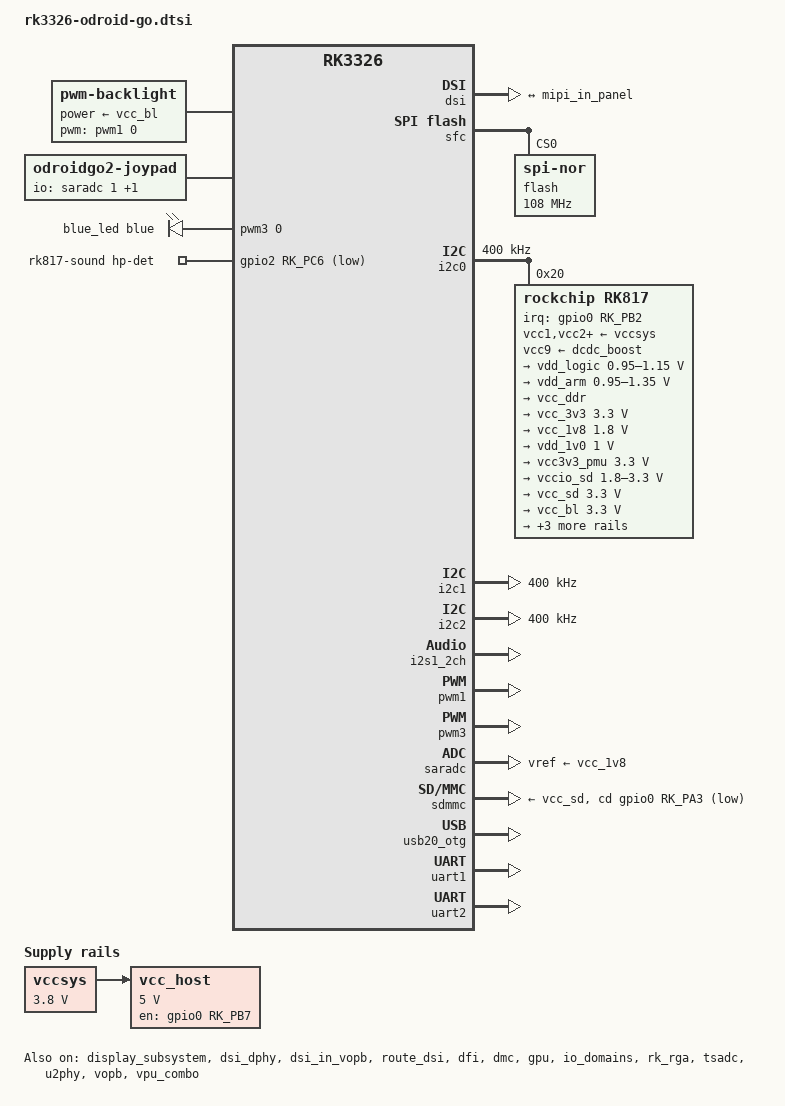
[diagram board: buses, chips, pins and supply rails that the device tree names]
// SPDX-License-Identifier: (GPL-2.0+ OR MIT)
/*
 * Copyright (c) 2019 Hardkernel Co., Ltd
 * Copyright (c) 2020 Theobroma Systems Design und Consulting GmbH
 * Copyright (c) 2022 Maya Matuszczyk <maccraft123mc@gmail.com>
 */

/dts-v1/;
#include <dt-bindings/display/drm_mipi_dsi.h>
#include <dt-bindings/gpio/gpio.h>
#include <dt-bindings/input/input.h>
#include <dt-bindings/leds/common.h>
#include <dt-bindings/pinctrl/rockchip.h>
#include <dt-bindings/sensor-dev.h>
#include "rk3326.dtsi"
#include "rk3326-linux.dtsi"

/ {
	aliases {
		mmc0 = &sdmmc;
	};

	chosen {
		bootargs = "";
		stdout-path = "serial2:115200n8";
	};

	backlight: backlight {
		compatible = "pwm-backlight";
		power-supply = <&vcc_bl>;
		pwms = <&pwm1 0 25000 0>;
		brightness-levels = <
			  0   1   2   3   4   5   6   7
			  8   9  10  11  12  13  14  15
			 16  17  18  19  20  21  22  23
			 24  25  26  27  28  29  30  31
			 32  33  34  35  36  37  38  39
			 40  41  42  43  44  45  46  47
			 48  49  50  51  52  53  54  55
			 56  57  58  59  60  61  62  63
			 64  65  66  67  68  69  70  71
			 72  73  74  75  76  77  78  79
			 80  81  82  83  84  85  86  87
			 88  89  90  91  92  93  94  95
			 96  97  98  99 100 101 102 103
			104 105 106 107 108 109 110 111
			112 113 114 115 116 117 118 119
			120 121 122 123 124 125 126 127
			128 129 130 131 132 133 134 135
			136 137 138 139 140 141 142 143
			144 145 146 147 148 149 150 151
			152 153 154 155 156 157 158 159
			160 161 162 163 164 165 166 167
			168 169 170 171 172 173 174 175
			176 177 178 179 180 181 182 183
			184 185 186 187 188 189 190 191
			192 193 194 195 196 197 198 199
			200 201 202 203 204 205 206 207
			208 209 210 211 212 213 214 215
			216 217 218 219 220 221 222 223
			224 225 226 227 228 229 230 231
			232 233 234 235 236 237 238 239
			240 241 242 243 244 245 246 247
			248 249 250 251 252 253 254 255>;
		default-brightness-level = <200>;
	};

	fiq-debugger {
		compatible = "rockchip,fiq-debugger";
		rockchip,serial-id = <2>;
		rockchip,wake-irq = <0>;
		/* If enable uart uses irq instead of fiq */
		rockchip,irq-mode-enable = <0>;
		rockchip,baudrate = <115200>;  /* Only 115200 and 1500000 */
		interrupts = <GIC_SPI 127 IRQ_TYPE_LEVEL_LOW>;
		pinctrl-names = "default";
		pinctrl-0 = <&uart2m1_xfer>;
		status = "okay";
	};

	joypad: odroidgo2-joypad {
                compatible = "odroidgo2-joypad";
                /*
                  - odroidgo2-joypad sysfs list -
		   * for poll device interval(ms)
		   /sys/devices/platform/odroidgo2_joypad/poll_interval [rw]
                   * for button-adc-fuzz
		   /sys/devices/platform/odroidgo2_joypad/adc_fuzz [r]
                   * for button-adc-flat
		   /sys/devices/platform/odroidgo2_joypad/adc_flat [r]

		   * for report control(1:enable, 0:disable)
		   /sys/devices/platform/odroidgo2_joypad/enable [rw]
		   * for adc calibration value setup(1:current adcs value -> cal value)
		   /sys/devices/platform/odroidgo2_joypad/adc_cal [rw]
                */

		/* gpio pincontrol setup */
                pinctrl-names = "default";
                pinctrl-0 = <&btn_pins>;

		/* JOY_X, JOY_Y Channel define */
		io-channel-names = "joy_x", "joy_y";
		io-channels = <&saradc 1>, <&saradc 2>;

		/*
		    joy-stick voltage range
		    /sys/devices/platform/ff288000.saradc/iio:device0
		    adc-x : in_voltage1_raw
		    adc-y : in_voltage2_raw

		    range calculate.
		    (adc raw max value - adc raw min value) * 1.7515
		*/
		button-adc-x-range = <1100>;
		button-adc-y-range = <1000>;

		/* adc channel count */
		button-adc-count = <2>;

		/*
		  specifies fuzz value that is used to filter noise from
		  the event stream.
		*/
		button-adc-fuzz = <10>;
		button-adc-flat = <10>;

		/* poll device interval (ms), adc read interval */
		poll-interval = <1>;

		/* gpio button auto repeat set value : default disable */
		/*
			autorepeat;
		*/

                /*
                    joypad driver is poll-device driver.
                    poll-device is does not support wakeup-source.
		*/

		button-sw1 {
			gpios = <&gpio1 RK_PB4 GPIO_ACTIVE_LOW>;
			label = "DPAD-UP";
			linux,code = <BTN_DPAD_UP>;
		};
		button-sw2 {
			gpios = <&gpio1 RK_PB5 GPIO_ACTIVE_LOW>;
			label = "DPAD-DOWN";
			linux,code = <BTN_DPAD_DOWN>;
		};
		button-sw3 {
			gpios = <&gpio1 RK_PB6 GPIO_ACTIVE_LOW>;
			label = "DPAD-LEFT";
			linux,code = <BTN_DPAD_LEFT>;
		};
		button-sw4 {
			gpios = <&gpio1 RK_PB7 GPIO_ACTIVE_LOW>;
			label = "DPAD-RIGHT";
			linux,code = <BTN_DPAD_RIGHT>;
		};
		button-sw5 {
			gpios = <&gpio1 RK_PA2 GPIO_ACTIVE_LOW>;
			label = "BTN-A";
			linux,code = <BTN_EAST>;
		};
		button-sw6 {
			gpios = <&gpio1 RK_PA5 GPIO_ACTIVE_LOW>;
			label = "BTN-B";
			linux,code = <BTN_SOUTH>;
		};
		button-sw7 {
			gpios = <&gpio1 RK_PA6 GPIO_ACTIVE_LOW>;
			label = "BTN-Y";
			linux,code = <BTN_WEST>;
		};
		button-sw8 {
			gpios = <&gpio1 RK_PA7 GPIO_ACTIVE_LOW>;
			label = "BTN-X";
			linux,code = <BTN_NORTH>;
		};
		btn_f1: button-sw9 {
			gpios = <&gpio2 RK_PA0 GPIO_ACTIVE_LOW>;
			label = "F1";
			linux,code = <BTN_TRIGGER_HAPPY1>;
		};
		btn_f2: button-sw10 {
			gpios = <&gpio2 RK_PA1 GPIO_ACTIVE_LOW>;
			label = "F2";
			linux,code = <BTN_TRIGGER_HAPPY2>;
		};
		btn_f3: button-sw11 {
			gpios = <&gpio2 RK_PA2 GPIO_ACTIVE_LOW>;
			label = "F3";
			linux,code = <BTN_TRIGGER_HAPPY3>;
		};
		btn_f4: button-sw12 {
			gpios = <&gpio2 RK_PA3 GPIO_ACTIVE_LOW>;
			label = "F4";
			linux,code = <BTN_TRIGGER_HAPPY4>;
		};
		btn_f5: button-sw13 {
			gpios = <&gpio2 RK_PA4 GPIO_ACTIVE_LOW>;
			label = "F5";
			linux,code = <BTN_TRIGGER_HAPPY5>;
		};
		btn_f6: button-sw14 {
			gpios = <&gpio2 RK_PA5 GPIO_ACTIVE_LOW>;
			label = "F6";
			linux,code = <BTN_TRIGGER_HAPPY6>;
		};
		button-sw15 {
			gpios = <&gpio2 RK_PA6 GPIO_ACTIVE_LOW>;
			label = "TOP-LEFT";
			linux,code = <BTN_TL>;
		};
		button-sw16 {
			gpios = <&gpio2 RK_PA7 GPIO_ACTIVE_LOW>;
			label = "TOP-RIGHT";
			linux,code = <BTN_TR>;
		};
	};

	/* led-1 is wired directly to output of always-on regulator */

	gpio_led: gpio-leds {
		compatible = "gpio-leds";
	};

	pwm_led: led-controller {
		compatible = "pwm-leds";

		blue_led: led-2 {
			color = <LED_COLOR_ID_BLUE>;
			function = LED_FUNCTION_STATUS;
			linux,default-trigger = "heartbeat";
			max-brightness = <255>;
			pwms = <&pwm3 0 25000 0>;
		};
	};

	rk817-sound {
		compatible = "simple-audio-card";
		simple-audio-card,name = "rk817_int";
		simple-audio-card,format = "i2s";
		simple-audio-card,hp-det-gpio = <&gpio2 RK_PC6 GPIO_ACTIVE_HIGH>;
		simple-audio-card,mclk-fs = <256>;
		simple-audio-card,widgets =
			"Microphone", "Mic Jack",
			"Headphone", "Headphones",
			"Speaker", "Speaker";
		simple-audio-card,routing =
			"MICL", "Mic Jack",
			"Headphones", "HPOL",
			"Headphones", "HPOR",
			"Speaker", "SPKO";

		simple-audio-card,codec {
			sound-dai = <&rk817>;
		};

		simple-audio-card,cpu {
			sound-dai = <&i2s1_2ch>;
		};
	};

	rk817-sound {
		compatible = "simple-audio-card";
		simple-audio-card,format = "i2s";
		simple-audio-card,name = "rockchip,rk817-codec";
		simple-audio-card,mclk-fs = <256>;
		simple-audio-card,widgets =
			"Microphone", "Mic Jack",
			"Headphone", "Headphone Jack";
		simple-audio-card,routing =
			"MIC_IN", "Mic Jack",
			/*"IN1P", "Mic Jack",*/
			"Headphone Jack", "HPOL",
			"Headphone Jack", "HPOR";
		simple-audio-card,hp-det-gpio = <&gpio2 RK_PC6 GPIO_ACTIVE_LOW>;
		simple-audio-card,codec-hp-det = <1>;
		simple-audio-card,cpu {
			sound-dai = <&i2s1_2ch>;
		};
		simple-audio-card,codec {
			sound-dai = <&rk817_codec>;
		};
	};

/*
	rk_headset {
		compatible = "rockchip_headset";
		headset_gpio = <&gpio2 RK_PC6 GPIO_ACTIVE_LOW>;
		pinctrl-names = "default";
		pinctrl-0 = <&hp_det>;
	};
*/

	vccsys: vccsys {
		compatible = "regulator-fixed";
		regulator-name = "vcc3v8_sys";
		regulator-always-on;
		regulator-min-microvolt = <3800000>;
		regulator-max-microvolt = <3800000>;
	};

	vcc_host: vcc_host {
		compatible = "regulator-fixed";
		regulator-name = "vcc_host";
		regulator-min-microvolt = <5000000>;
		regulator-max-microvolt = <5000000>;

		gpio = <&gpio0 RK_PB7 GPIO_ACTIVE_HIGH>;
		enable-active-high;
		regulator-always-on;
		vin-supply = <&vccsys>;
	};
};

&bus_apll {
	bus-supply = <&vdd_logic>;
	status = "okay";
};

&cpu0 {
	cpu-supply = <&vdd_arm>;
};

&cpu1 {
	cpu-supply = <&vdd_arm>;
};

&cpu2 {
	cpu-supply = <&vdd_arm>;
};

&cpu3 {
	cpu-supply = <&vdd_arm>;
};

&cpu0_opp_table {
	rockchip,avs = <1>;

	/* bin scaling clock 1.296MHz */
	rockchip,bin-scaling-sel = <
		0               13
		1               13
	>;

	/delete-node/ opp-408000000;
	/delete-node/ opp-600000000;
	/delete-node/ opp-816000000;
	/delete-node/ opp-1416000000;
	/delete-node/ opp-1512000000;
};

&cru {
	assigned-clocks = <&cru PLL_NPLL>,
		<&cru ACLK_BUS_PRE>, <&cru ACLK_PERI_PRE>,
		<&cru HCLK_BUS_PRE>, <&cru HCLK_PERI_PRE>,
		<&cru PCLK_BUS_PRE>, <&cru SCLK_GPU>,
		<&cru PLL_CPLL>;

	assigned-clock-rates = <1188000000>,
		<200000000>, <200000000>,
		<150000000>, <150000000>,
		<100000000>, <200000000>,
		<17000000>;
};

&display_subsystem {
	status = "okay";
};

&dsi {
	status = "okay";

	ports {
		mipi_out: port@1 {
			reg = <1>;

			mipi_out_panel: endpoint {
				remote-endpoint = <&mipi_in_panel>;
			};
		};
	};

	internal_display: panel@0 {
		reg = <0>;

		/* pwm1 backlight */
		backlight = <&backlight>;
		rotation = <270>;
		/* RK817 LDO7 */
		backlight-supply = <&vcc_bl>;
		/* RK817 LDO8 */
		power-supply = <&vcc_lcd>;

		/* Rev 0.2 LCD reset gpio GPIO3.C0 */
		reset-gpios = <&gpio3 RK_PC0 GPIO_ACTIVE_LOW>;

		prepare-delay-ms = <2>;
		reset-delay-ms = <1>;
		init-delay-ms = <20>;
		enable-delay-ms = <120>;
		disable-delay-ms = <50>;
		unprepare-delay-ms = <20>;

		/* LCD size */
		width-mm = <42>;
		height-mm = <82>;

		dsi,flags = <(MIPI_DSI_MODE_VIDEO           |
			      MIPI_DSI_MODE_VIDEO_BURST     |
			      MIPI_DSI_MODE_LPM             |
			      MIPI_DSI_MODE_EOT_PACKET)>;

		dsi,format = <MIPI_DSI_FMT_RGB888>;
		dsi,lanes = <1>;

		/*
			- panel-init-sequence data description -
			  mipi_cmd, delay(ms), len, lcd_cmd, lcd_data...

			- mipi_cmd description -
			  05 : MIPI_DSI_SHORT_WRITE
			  15 : MIPI_DSI_SHORT_WRITE_PARAM
			  39 : MIPI_DSI_LONG_WRITE

			- ILI9486 (Initialize sequence) -
			  11: Sleep out & 250ms wait
			  E0: PositiveGamma
			  E1: NegativeGamma
			  C0: PowerControl_1
			  C1: PowerControl_2
			  C5: VcomControl
			  36: MemoryAccess
			  3A: InterfacePixelFormat
			  B0: InterfaceModeControl
			  B1: FrameRateControl
			  B4: DisplayInversionControl
			  B6: DisplayFunctionControl
			  E9: SetImageFunction
			  F7: AdjustControl_3
			  21: DisplayInversionOn
			  29: DisplayOn & 50ms wait
		*/

		panel-init-sequence = [
			05 fa 01 11
			39 00 10 E0 00 13 18 04 0F 06 3A 56
				    4D 03 0A 06 30 3E 0F
			39 00 10 E1 00 13 18 01 11 06 38 34
				    4D 06 0D 0B 31 37 0F
			15 00 03 C0 18 17
			15 00 02 C1 41
			39 00 04 C5 00 1A 80
			15 00 02 36 48
			15 00 02 3A 55
			15 00 02 B0 00
			15 00 02 B1 A0
			15 00 02 B4 02
			15 00 03 B6 20 02
			15 00 02 E9 00
			39 00 05 F7 A9 51 2C 82
			05 00 01 21
			05 32 01 29
		];

		/* 28: DisplayOff */
		/* 10: SleepIn */
		panel-exit-sequence = [
			05 00 01 28
			05 00 01 10
		];

		display-timings {
			native-mode = <&timing0>;

			timing0: timing0 {
				clock-frequency = <17000000>;
				hactive = <320>;
				vactive = <480>;
				hfront-porch = <130>;
				hsync-len = <4>;
				hback-porch = <130>;
				vfront-porch = <2>;
				vsync-len = <1>;
				vback-porch = <2>;
				hsync-active = <0>;
				vsync-active = <0>;
				de-active = <0>;
				pixelclk-active = <0>;
			};
		};

		port {
			mipi_in_panel: endpoint {
				remote-endpoint = <&mipi_out_panel>;
			};
		};
	};
};

&dsi_dphy {
	status = "okay";
};

&dsi_in_vopb {
	status = "okay";
};

&route_dsi {
	connect = <&vopb_out_dsi>;
	status = "okay";
};

&dfi {
	status = "okay";
};

&dmc {
	center-supply = <&vdd_logic>;
	status = "okay";
};

&dmc_opp_table {
	opp-786000000 {
		status = "okay";
	};
};

&emmc {
	status = "disabled";
};

&sfc {
	status = "disabled";
};

&gpu {
	mali-supply = <&vdd_logic>;
	status = "okay";
};

&i2c0 {
	clock-frequency = <400000>;
	i2c-scl-falling-time-ns = <16>;
	i2c-scl-rising-time-ns = <280>;
	status = "okay";

	rk817: pmic@20 {
		compatible = "rockchip,rk817";
		reg = <0x20>;
		interrupt-parent = <&gpio0>;
		interrupts = <RK_PB2 IRQ_TYPE_LEVEL_LOW>;
		clock-output-names = "rk808-clkout1", "xin32k";
		clock-names = "mclk";
		clocks = <&cru SCLK_I2S1_OUT>;
		pinctrl-names = "default", "pmic-sleep",
				"pmic-power-off", "pmic-reset";
		pinctrl-0 = <&pmic_int>, <&i2s1_2ch_mclk>;
		pinctrl-1 = <&soc_slppin_slp>, <&rk817_slppin_slp>;
		pinctrl-2 = <&soc_slppin_gpio>, <&rk817_slppin_pwrdn>;
		pinctrl-3 = <&soc_slppin_rst>, <&rk817_slppin_rst>;
		rockchip,system-power-controller;
		wakeup-source;
		#clock-cells = <1>;
		#sound-dai-cells = <0>;
		//fb-inner-reg-idxs = <2>;

		/* 1: rst regs (default in codes), 0: rst the pmic */
		pmic-reset-func = <1>;

		vcc1-supply = <&vccsys>;
		vcc2-supply = <&vccsys>;
		vcc3-supply = <&vccsys>;
		vcc4-supply = <&vccsys>;
		vcc5-supply = <&vccsys>;
		vcc6-supply = <&vccsys>;
		vcc7-supply = <&vccsys>;
		vcc8-supply = <&vccsys>;
		vcc9-supply = <&dcdc_boost>;

		pwrkey {
			status = "okay";
		};

		pinctrl_rk8xx: pinctrl_rk8xx {
			gpio-controller;
			#gpio-cells = <2>;

			rk817_ts_gpio1: rk817_ts_gpio1 {
				pins = "gpio_ts";
				function = "pin_fun1";
				/* output-low; */
				/* input-enable; */
			};

			rk817_gt_gpio2: rk817_gt_gpio2 {
				pins = "gpio_gt";
				function = "pin_fun1";
			};

			rk817_pin_ts: rk817_pin_ts {
				pins = "gpio_ts";
				function = "pin_fun0";
			};

			rk817_pin_gt: rk817_pin_gt {
				pins = "gpio_gt";
				function = "pin_fun0";
			};

			rk817_slppin_null: rk817_slppin_null {
				pins = "gpio_slp";
				function = "pin_fun0";
			};

			rk817_slppin_slp: rk817_slppin_slp {
				pins = "gpio_slp";
				function = "pin_fun1";
			};

			rk817_slppin_pwrdn: rk817_slppin_pwrdn {
				pins = "gpio_slp";
				function = "pin_fun2";
			};

			rk817_slppin_rst: rk817_slppin_rst {
				pins = "gpio_slp";
				function = "pin_fun3";
			};
		};

		regulators {
			vdd_logic: DCDC_REG1 {
				regulator-name = "vdd_logic";
				regulator-min-microvolt = <950000>;
				regulator-max-microvolt = <1150000>;
				regulator-ramp-delay = <6001>;
				regulator-always-on;
				regulator-boot-on;

				regulator-state-mem {
					regulator-on-in-suspend;
					regulator-suspend-microvolt = <950000>;
				};
			};

			vdd_arm: DCDC_REG2 {
				regulator-name = "vdd_arm";
				regulator-min-microvolt = <950000>;
				regulator-max-microvolt = <1350000>;
				regulator-ramp-delay = <6001>;
				regulator-always-on;
				regulator-boot-on;

				regulator-state-mem {
					regulator-off-in-suspend;
					regulator-suspend-microvolt = <950000>;
				};
			};

			vcc_ddr: DCDC_REG3 {
				regulator-name = "vcc_ddr";
				regulator-always-on;
				regulator-boot-on;

				regulator-state-mem {
					regulator-on-in-suspend;
				};
			};

			vcc_3v3: DCDC_REG4 {
				regulator-name = "vcc_3v3";
				regulator-min-microvolt = <3300000>;
				regulator-max-microvolt = <3300000>;
				regulator-always-on;
				regulator-boot-on;

				regulator-state-mem {
					regulator-off-in-suspend;
					regulator-suspend-microvolt = <3300000>;
				};
			};

			vcc_1v8: LDO_REG2 {
				regulator-name = "vcc_1v8";
				regulator-min-microvolt = <1800000>;
				regulator-max-microvolt = <1800000>;
				regulator-always-on;
				regulator-boot-on;

				regulator-state-mem {
					regulator-on-in-suspend;
					regulator-suspend-microvolt = <1800000>;
				};
			};

			vdd_1v0: LDO_REG3 {
				regulator-name = "vdd_1v0";
				regulator-min-microvolt = <1000000>;
				regulator-max-microvolt = <1000000>;
				regulator-always-on;
				regulator-boot-on;

				regulator-state-mem {
					regulator-on-in-suspend;
					regulator-suspend-microvolt = <1000000>;
				};
			};

			vcc3v3_pmu: LDO_REG4 {
				regulator-name = "vcc3v3_pmu";
				regulator-min-microvolt = <3300000>;
				regulator-max-microvolt = <3300000>;
				regulator-always-on;
				regulator-boot-on;

				regulator-state-mem {
					regulator-on-in-suspend;
					regulator-suspend-microvolt = <3300000>;
				};
			};

			vccio_sd: LDO_REG5 {
				regulator-name = "vccio_sd";
				regulator-min-microvolt = <1800000>;
				regulator-max-microvolt = <3300000>;
				regulator-always-on;
				regulator-boot-on;

				regulator-state-mem {
					regulator-on-in-suspend;
					regulator-suspend-microvolt = <3300000>;
				};
			};

			vcc_sd: LDO_REG6 {
				regulator-name = "vcc_sd";
				regulator-min-microvolt = <3300000>;
				regulator-max-microvolt = <3300000>;
				regulator-boot-on;

				regulator-state-mem {
					regulator-on-in-suspend;
					regulator-suspend-microvolt = <3300000>;
				};
			};

			vcc_bl: LDO_REG7 {
				regulator-name = "vcc_bl";
				regulator-min-microvolt = <3300000>;
				regulator-max-microvolt = <3300000>;

				regulator-state-mem {
					regulator-off-in-suspend;
					regulator-suspend-microvolt = <3300000>;
				};
			};

			vcc_lcd: LDO_REG8 {
				regulator-name = "vcc_lcd";
				regulator-min-microvolt = <2800000>;
				regulator-max-microvolt = <2800000>;

				regulator-state-mem {
					regulator-off-in-suspend;
					regulator-suspend-microvolt = <2800000>;
				};
			};

			LDO_REG9 {
				/* unused */
			};

			dcdc_boost: BOOST {
				regulator-always-on;
				regulator-boot-on;
				regulator-min-microvolt = <5000000>;
				regulator-max-microvolt = <5400000>;
				regulator-name = "boost";
			};

			otg_switch: OTG_SWITCH {
				regulator-boot-on;
				regulator-name = "otg_switch";
			};
		};

		battery: battery {
			compatible = "rk817,battery";
			ocv_table = <3500 3625 3685 3697 3718 3735 3748
			3760 3774 3788 3802 3816 3834 3853
			3877 3908 3946 3975 4018 4071 4106>;

			/* KPL605475 Battery Spec */
			/*
				Capacity : 3.7V 3000mA
				Normal Voltage = 3.7V
				Cut-Off Voltage : 3.1V
				Internal Impedance : 180 mOhm
				Charging Voltage : 4.2V
				Charging Voltage Max : 4.25V
				Sample resister : 10 mohm
			*/
			design_capacity = <3000>;
			design_qmax = <3000>;
			bat_res = <180>;
			sleep_enter_current = <300>;
			sleep_exit_current = <300>;
			sleep_filter_current = <100>;
			power_off_thresd = <3500>;
			zero_algorithm_vol = <3700>;
			max_soc_offset = <60>;
			monitor_sec = <5>;
			virtual_power = <0>;
			sample_res = <10>;
		};

		rk817_charger: charger {
			compatible = "rk817,charger";
			min_input_voltage = <4500>;
			max_input_current = <1500>;
			max_chrg_current = <2000>;
			max_chrg_voltage = <4200>;
			chrg_term_mode = <0>;
			chrg_finish_cur = <300>;
			virtual_power = <0>;
			sample_res = <10>;

			/* P.C.B rev0.2 DC Detect & Charger Status LED GPIO */
			dc_det_gpio  = <&gpio0 RK_PB3 GPIO_ACTIVE_HIGH>;
			chg_led_gpio = <&gpio0 RK_PB5 GPIO_ACTIVE_HIGH>;

			extcon = <&u2phy>;
		};

		rk817_codec: codec {
			rockchip,mic-in-differential;
			#sound-dai-cells = <0>;
			compatible = "rockchip,rk817-codec";
			clocks = <&cru SCLK_I2S1_OUT>;
			clock-names = "mclk";
			pinctrl-names = "default";
			pinctrl-0 = <&i2s1_2ch_mclk>;
			hp-volume = <20>;
			spk-volume = <3>;
			status = "okay";
		};
	};
};

/* EXT Header(P2): 7(SCL:GPIO0.C2), 8(SDA:GPIO0.C3) */
&i2c1 {
	clock-frequency = <400000>;
	status = "okay";
};

/* MIPI CSI I2C */
&i2c2 {
	status = "okay";
	clock-frequency = <400000>;
};

/* I2S 1 Channel Used */
&i2s1_2ch {
	status = "okay";
	#sound-dai-cells = <0>;
};

&io_domains {
	vccio1-supply = <&vcc_3v3>;
	vccio2-supply = <&vccio_sd>;
	vccio3-supply = <&vcc_3v3>;
	vccio4-supply = <&vcc_3v3>;
	vccio5-supply = <&vcc_3v3>;
	vccio6-supply = <&vcc_3v3>;
	status = "okay";
};

&isp_mmu {
	status = "okay";
};

&pmu_io_domains {
	pmuio1-supply = <&vcc3v3_pmu>;
	pmuio2-supply = <&vcc3v3_pmu>;
	status = "okay";
};

/* LCD Backlight PWM */
&pwm1 {
	status = "okay";
};

&pwm3 {
	status = "okay";
};

&rk_rga {
	status = "okay";
};

&rockchip_suspend {
	status = "okay";
	rockchip,sleep-debug-en = <1>;
};

&saradc {
	vref-supply = <&vcc_1v8>;
	status = "okay";
};

&sdmmc {
	cap-sd-highspeed;
	card-detect-delay = <200>;
	cd-gpios = <&gpio0 RK_PA3 GPIO_ACTIVE_LOW>; /*[> CD GPIO <]*/
	sd-uhs-sdr12;
	sd-uhs-sdr25;
	sd-uhs-sdr50;
	sd-uhs-sdr104;
	vmmc-supply = <&vcc_sd>;
	vqmmc-supply = <&vccio_sd>;
	status = "okay";
};

&sfc {
	pinctrl-0 = <&sfc_clk &sfc_cs0 &sfc_bus2>;
	pinctrl-names = "default";
	#address-cells = <1>;
	#size-cells = <0>;
	status = "okay";

	flash@0 {
		compatible = "jedec,spi-nor";
		reg = <0>;
		spi-max-frequency = <108000000>;
		spi-rx-bus-width = <2>;
		spi-tx-bus-width = <1>;
	};
};

&spi0 {
	status = "disabled";
};

&tsadc {
	pinctrl-names = "gpio", "otpout";
	pinctrl-0 = <&tsadc_otp_gpio>;
	pinctrl-1 = <&tsadc_otp_out>;
	status = "okay";
};

&u2phy {
	status = "okay";

	u2phy_host: host-port {
		status = "okay";
	};

	u2phy_otg: otg-port {
		status = "disabled";
	};
};

&usb20_otg {
	status = "okay";
};

/* EXT Header(P2): 2(RXD:GPIO1.C0),3(TXD:.C1),4(CTS:.C2),5(RTS:.C3) */
&uart1 {
	pinctrl-names = "default";
	pinctrl-0 = <&uart1_xfer &uart1_cts>;
	status = "okay";
};

&uart2 {
	pinctrl-names = "default";
	pinctrl-0 = <&uart2m1_xfer>;
	status = "okay";
};

&vip_mmu {
	status = "okay";
};

&vopb {
	status = "okay";
};

&vopb_mmu {
	status = "okay";
};

&vpu_combo {
	status = "okay";
};

&pinctrl {
	btns {
		btn_pins: btn-pins {
			rockchip,pins = <1 RK_PA2 RK_FUNC_GPIO &pcfg_pull_up>,
					<1 RK_PA5 RK_FUNC_GPIO &pcfg_pull_up>,
					<1 RK_PA6 RK_FUNC_GPIO &pcfg_pull_up>,
					<1 RK_PA7 RK_FUNC_GPIO &pcfg_pull_up>,
					<1 RK_PB4 RK_FUNC_GPIO &pcfg_pull_up>,
					<1 RK_PB5 RK_FUNC_GPIO &pcfg_pull_up>,
					<1 RK_PB6 RK_FUNC_GPIO &pcfg_pull_up>,
					<1 RK_PB7 RK_FUNC_GPIO &pcfg_pull_up>,
					<2 RK_PA0 RK_FUNC_GPIO &pcfg_pull_up>,
					<2 RK_PA1 RK_FUNC_GPIO &pcfg_pull_up>,
					<2 RK_PA2 RK_FUNC_GPIO &pcfg_pull_up>,
					<2 RK_PA3 RK_FUNC_GPIO &pcfg_pull_up>,
					<2 RK_PA4 RK_FUNC_GPIO &pcfg_pull_up>,
					<2 RK_PA5 RK_FUNC_GPIO &pcfg_pull_up>,
					<2 RK_PA6 RK_FUNC_GPIO &pcfg_pull_up>,
					<2 RK_PA7 RK_FUNC_GPIO &pcfg_pull_up>;
		};
	};

/*
	headphone {
		//High : HeadPhone remove, Low : HeadPhone insert
		hp_det: hp-det {
			rockchip,pins = <2 RK_PC6 RK_FUNC_GPIO &pcfg_pull_down>;
		};
	};
*/

	pmic {
		dc_det: dc-det {
			rockchip,pins = <0 RK_PB3 RK_FUNC_GPIO &pcfg_pull_none>;
		};

		/* ODROID-GO2 : PMIC_INT(GPIO0.PB2) */
		pmic_int: pmic-int {
			rockchip,pins =
				<0 RK_PB2 RK_FUNC_GPIO &pcfg_pull_up>,
				<0 RK_PB3 RK_FUNC_GPIO &pcfg_pull_none>;
		};

		/* ODROID-GO2 : PMIC_SLEEP(GPIO0.PA4) */
		soc_slppin_gpio: soc_slppin_gpio {
			rockchip,pins = <0 RK_PA4 RK_FUNC_GPIO &pcfg_output_low>;
		};

		soc_slppin_rst: soc_slppin_rst {
			rockchip,pins = <0 RK_PA4 2 &pcfg_pull_none>;
		};

		soc_slppin_slp: soc_slppin_slp {
			rockchip,pins = <0 RK_PA4 1 &pcfg_pull_none>;
		};
	};
};
